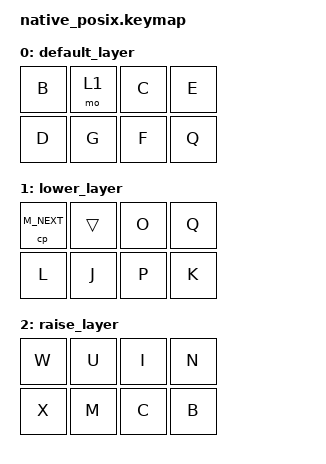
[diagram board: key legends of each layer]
#include <dt-bindings/zmk/keys.h>
#include <behaviors.dtsi>
#include <dt-bindings/zmk/kscan-mock.h>

&kscan {
	events = <ZMK_MOCK_PRESS(0,1,300) ZMK_MOCK_PRESS(0,0,300) ZMK_MOCK_RELEASE(0,0,300) ZMK_MOCK_RELEASE(0,1,300)>;
};

/ {
	keymap {
		compatible = "zmk,keymap";
		label ="Default keymap";

		default_layer {
			bindings = <
				&kp B &mo 1 &kp C &kp E
				&kp D &kp G &kp F &kp Q>;
		};

		lower_layer {
			bindings = <
				&cp M_NEXT &trans &kp O &kp Q
				&kp L  &kp J &kp P &kp K>;
		};

		raise_layer {
			bindings = <
				&kp W &kp U &kp I &kp N
				&kp X  &kp M &kp C &kp B>;
		};
	};
};
